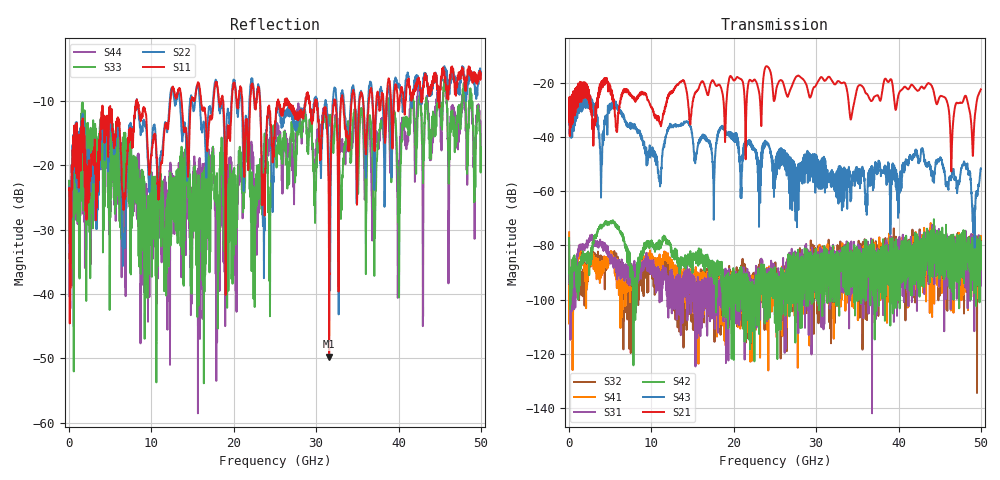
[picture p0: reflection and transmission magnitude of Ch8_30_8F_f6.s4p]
!Agilent Technologies,N5247A,US51170199,A.09.90.13
!Agilent N5247A: A.09.90.13
!Date: Wednesday, December 16, 2015 10:32:37
!Correction: S11(Full 4 Port(1,2,3,4))
!S12(Full 4 Port(1,2,3,4))
!S13(Full 4 Port(1,2,3,4))
!S14(Full 4 Port(1,2,3,4))
!S21(Full 4 Port(1,2,3,4))
!S22(Full 4 Port(1,2,3,4))
!S23(Full 4 Port(1,2,3,4))
!S24(Full 4 Port(1,2,3,4))
!S31(Full 4 Port(1,2,3,4))
!S32(Full 4 Port(1,2,3,4))
!S33(Full 4 Port(1,2,3,4))
!S34(Full 4 Port(1,2,3,4))
!S41(Full 4 Port(1,2,3,4))
!S42(Full 4 Port(1,2,3,4))
!S43(Full 4 Port(1,2,3,4))
!S44(Full 4 Port(1,2,3,4))
!S4P File: Measurements: <S11,S12,S13,S14>,
!<S21,S22,S23,S24>,
!<S31,S32,S33,S34>,
!<S41,S42,S43,S44>:
# Hz S  dB  R 50
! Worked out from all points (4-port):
!   3201 points, 10 MHz to 50 GHz, reference 50 ohm
!   strongest paths, dB at 10 MHz, 12.51 GHz, 25 GHz, 37.5 GHz, 50 GHz:
!     S21: -34.4, -23.5, -25.6, -24.6, -22.3
!     S43: -35.3, -36.1, -49.8, -50.1, -51.5
!     S42: -77.3, -82.7, -92.6, -84.5, -78.5
!     S31: -80.1, -104.1, -90.1, -91.0, -94.9
!     S41: -75.2, -92.5, -92.0, -92.4, -78.3
!     S32: -84.8, -99.6, -88.5, -101.2, -88.6
!   lowest |S11| = -49.8 dB at 31.58 GHz (marker M1), VSWR 1.01, Z = 50.2 + j0.218 ohm
!   |S11| at or under -10 dB: start of sweep to 8.215 GHz; 8.25 GHz to 12.28 GHz (4.032 GHz wide, 39.3 % of centre); 23.2 GHz to 25.35 GHz (2.159 GHz wide, 8.89 % of centre)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
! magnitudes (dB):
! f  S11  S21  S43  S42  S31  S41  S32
! 10 MHz  -23.8  -34.4  -35.3  -77.3  -80.1  -75.2  -84.8
! 15.66 GHz  -7.1  -22.3  -43.0  -82.0  -99.6  -93.8  -91.0
! 31.58 GHz  -49.8  -17.7  -54.3  -87.8  -86.1  -84.2  -97.2
! 43.77 GHz  -8.5  -20.1  -50.6  -91.0  -85.9  -83.1  -82.9
! 46.44 GHz  -5.5  -49.2  -54.4  -79.3  -82.5  -91.9  -83.8
! 49.14 GHz  -6.9  -38.1  -70.7  -86.5  -87.6  -78.3  -87.3
! 50 GHz  -5.7  -22.3  -51.5  -78.5  -94.9  -78.3  -88.6
